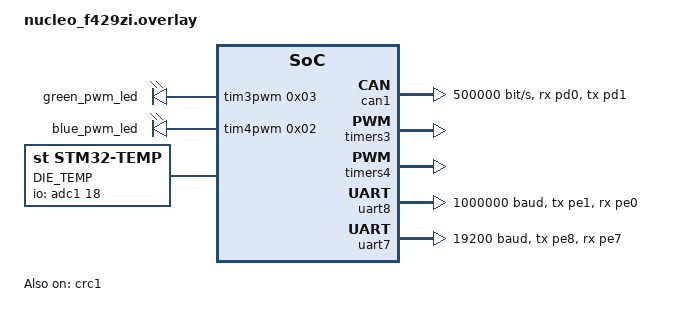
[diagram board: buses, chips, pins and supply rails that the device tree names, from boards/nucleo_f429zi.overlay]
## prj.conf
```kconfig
# https://docs.zephyrproject.org/latest/reference/kconfig/index-all.html

# -----------------------------------------------------------------------------

# GENERAL

# fs function needs a lot of stack/ram in general
CONFIG_MAIN_STACK_SIZE=2048

# https://docs.zephyrproject.org/latest/reference/kernel/threads/workqueue.html#configuration-options
CONFIG_SYSTEM_WORKQUEUE_STACK_SIZE=2024
CONFIG_SYSTEM_WORKQUEUE_PRIORITY=-1
CONFIG_SYSTEM_WORKQUEUE_NO_YIELD=n

CONFIG_INIT_STACKS=y

CONFIG_TIMEOUT_64BIT=y

CONFIG_POSIX_API=y
# CONFIG_MINIMAL_LIBC=y
# CONFIG_MINIMAL_LIBC_MALLOC=y
# CONFIG_MINIMAL_LIBC_MALLOC_ARENA_SIZE=1024
CONFIG_NEWLIB_LIBC=y
CONFIG_HEAP_MEM_POOL_SIZE=0

CONFIG_POLL=y

# -----------------------------------------------------------------------------

# LOGGING
# https://docs.zephyrproject.org/latest/reference/logging/index.html
CONFIG_LOG=y
CONFIG_PRINTK=y

# CONFIG_CONSOLE=y
# CONFIG_UART_CONSOLE=y
# CONFIG_STDOUT_CONSOLE=y

CONFIG_CBPRINTF_FP_SUPPORT=y

# -----------------------------------------------------------------------------

CONFIG_THREAD_MONITOR=n

# https://docs.zephyrproject.org/latest/guides/flash_debug/thread-analyzer.html
# -> disable CONFIG_LOG_MODE_IMMEDIATE when using THREAD analyser
CONFIG_THREAD_NAME=y
CONFIG_THREAD_ANALYZER=n            
# CONFIG_THREAD_ANALYZER_USE_PRINTK=n
# CONFIG_THREAD_ANALYZER_USE_LOG=y
# CONFIG_THREAD_ANALYZER_AUTO=y
# CONFIG_THREAD_ANALYZER_AUTO_INTERVAL=10
# THREAD_ANALYZER_AUTO_STACK_SIZE
CONFIG_THREAD_RUNTIME_STATS=y

# -----------------------------------------------------------------------------

CONFIG_NETWORKING=y
CONFIG_NET_UDP=y
CONFIG_NET_TCP=y

CONFIG_NET_IPV4=y
CONFIG_NET_IPV6=n
CONFIG_NET_TCP=y
CONFIG_NET_ARP=y
CONFIG_NET_UDP=y

CONFIG_NET_STATISTICS=y
CONFIG_NET_STATISTICS_USER_API=y
CONFIG_NET_STATISTICS_IPV4=y
CONFIG_NET_STATISTICS_ICMP=y
CONFIG_NET_STATISTICS_TCP=y
CONFIG_NET_STATISTICS_UDP=y

CONFIG_NET_CONNECTION_MANAGER=n

# TO DEBUG
# CONFIG_NET_DRIVERS=y
# CONFIG_NET_LOOPBACK=y
# CONFIG_NET_LOOPBACK_LOG_LEVEL_DBG=y
# CONFIG_NET_IF_MAX_IPV4_COUNT=2

CONFIG_NET_MGMT=y
CONFIG_NET_MGMT_EVENT=y

CONFIG_NET_SOCKETS=y

CONFIG_NET_SOCKETS_SOCKOPT_TLS=y
CONFIG_NET_SOCKETS_TLS_MAX_CONTEXTS=4

# https://github.com/zephyrproject-rtos/zephyr/issues/39705
# incompatible with CONFIG_POSIX_API option
# CONFIG_NET_SOCKETS_POSIX_NAMES=y

CONFIG_NET_BUF_DATA_SIZE=128
# default 36
CONFIG_NET_PKT_RX_COUNT=64
CONFIG_NET_PKT_TX_COUNT=64
CONFIG_NET_BUF_RX_COUNT=64
CONFIG_NET_BUF_TX_COUNT=64

CONFIG_DNS_RESOLVER=y
CONFIG_DNS_RESOLVER_ADDITIONAL_BUF_CTR=5
CONFIG_DNS_RESOLVER_ADDITIONAL_QUERIES=2
CONFIG_DNS_RESOLVER_AI_MAX_ENTRIES=4

CONFIG_DNS_RESOLVER_MAX_SERVERS=1
# https://docs.zephyrproject.org/latest/reference/kconfig/CONFIG_DNS_SERVER1.html#std-kconfig-CONFIG_DNS_SERVER1
# SET CONFIG_DNS_RESOLVER_MAX_SERVERS to 2 if enabling next configuration option
# CONFIG_DNS_SERVER2="192.168.10.6"

CONFIG_DNS_RESOLVER_LOG_LEVEL_DBG=y

# CONFIG_MDNS_RESOLVER=y
# CONFIG_LLMNR_RESOLVER=n
# CONFIG_DNS_RESOLVER_MAX_SERVERS=2
# CONFIG_DNS_SERVER_IP_ADDRESSES=y
# CONFIG_DNS_NUM_CONCUR_QUERIES=5

# Config SNTP
CONFIG_SNTP=y
CONFIG_SNTP_LOG_LEVEL_DBG=n

CONFIG_NET_LOG=y
# IMPORTANT - CONFIG_NET_SOCKETS_LOG_LEVEL_DBG should also be enabled when debugging MBEDTLS stack
CONFIG_NET_SOCKETS_LOG_LEVEL_DBG=n
CONFIG_NET_IF_LOG_LEVEL_INF=y
CONFIG_NET_TCP_LOG_LEVEL_DBG=n
CONFIG_NET_CONFIG_LOG_LEVEL_DBG=n
CONFIG_NET_L2_ETHERNET_LOG_LEVEL_INF=n
CONFIG_NET_CORE_LOG_LEVEL_DBG=n
CONFIG_NET_CONN_LOG_LEVEL_DBG=n

CONFIG_NET_CONFIG_SETTINGS=n
CONFIG_NET_CONFIG_AUTO_INIT=n
CONFIG_NET_CONFIG_CLOCK_SNTP_INIT=n
CONFIG_NET_CONFIG_NEED_IPV6=n
CONFIG_NET_CONFIG_NEED_IPV4=n

CONFIG_NET_MAX_CONN=12
CONFIG_NET_MAX_CONTEXTS=12
CONFIG_POSIX_MAX_FDS=16
CONFIG_NET_SOCKETS_POLL_MAX=7

# https://docs.zephyrproject.org/latest/reference/kconfig/CONFIG_NET_TCP_TIME_WAIT_DELAY.html#std-kconfig-CONFIG_NET_TCP_TIME_WAIT_DELAY
# free TCP context immediately when closed
CONFIG_NET_TCP_TIME_WAIT_DELAY=0

# https://docs.zephyrproject.org/latest/reference/kconfig/CONFIG_NET_TCP_BACKLOG_SIZE.html#std-kconfig-CONFIG_NET_TCP_BACKLOG_SIZE
# CONFIG_NET_TCP_BACKLOG_SIZE=5

# -----------------------------------------------------------------------------

CONFIG_MBEDTLS_BUILTIN=y

# we disable heap as we will allocate it manually in CCM Pusing mbedtls_memory_buffer_alloc_init
CONFIG_MBEDTLS_ENABLE_HEAP=n
# CONFIG_MBEDTLS_HEAP_SIZE=65536

CONFIG_MBEDTLS_SSL_MAX_CONTENT_LEN=4096
CONFIG_NET_SOCKETS_TLS_SET_MAX_FRAGMENT_LENGTH=y

CONFIG_MBEDTLS_CFG_FILE="config-tls-generic.h"
CONFIG_MBEDTLS_USER_CONFIG_ENABLE=y
CONFIG_MBEDTLS_USER_CONFIG_FILE="caniot-cfg.h"

CONFIG_MBEDTLS_CIPHER=y

# CONFIG_MBEDTLS_MAC_ALL_ENABLED=y
CONFIG_MBEDTLS_MAC_MD5_ENABLED=y
CONFIG_MBEDTLS_MAC_SHA1_ENABLED=y
CONFIG_MBEDTLS_MAC_SHA256_ENABLED=y
CONFIG_MBEDTLS_MAC_SHA512_ENABLED=y

# CONFIG_MBEDTLS_CIPHER_ALL_ENABLED=y
# CONFIG_MBEDTLS_CIPHER_AES_ENABLED=y
CONFIG_MBEDTLS_CIPHER_MODE_CBC_ENABLED=y

# CONFIG_MBEDTLS_KEY_EXCHANGE_ALL_ENABLED=y
# CONFIG_MBEDTLS_KEY_EXCHANGE_ECDHE_RSA_ENABLED=y
# CONFIG_MBEDTLS_KEY_EXCHANGE_ECDH_RSA_ENABLED=y
CONFIG_MBEDTLS_KEY_EXCHANGE_RSA_ENABLED=y

# CONFIG_MBEDTLS_ECP_ALL_ENABLED=y

# TODO set to off later
CONFIG_MBEDTLS_PEM_CERTIFICATE_FORMAT=y

### ???
# CONFIG_CRYPTO=y

### ???
CONFIG_ENTROPY_GENERATOR=y
CONFIG_TEST_RANDOM_GENERATOR=n
# don't use test random generator in production

# CONFIG_MBEDTLS_ENTROPY_ENABLED=y

CONFIG_MBEDTLS_TLS_VERSION_1_2=y
CONFIG_MBEDTLS_TLS_VERSION_1_1=n
CONFIG_MBEDTLS_TLS_VERSION_1_0=n

# Debug
CONFIG_MBEDTLS_DEBUG=y
CONFIG_MBEDTLS_DEBUG_LEVEL=1
CONFIG_MBEDTLS_MEMORY_DEBUG=y

# -----------------------------------------------------------------------------

CONFIG_BOOTLOADER_MCUBOOT=n

# use code partition defined in the .overlay files
CONFIG_USE_DT_CODE_PARTITION=y

# -----------------------------------------------------------------------------

CONFIG_MPU_ALLOW_FLASH_WRITE=y

CONFIG_FLASH=y
CONFIG_FLASH_MAP=y
CONFIG_FLASH_PAGE_LAYOUT=y

CONFIG_NVS=y
CONFIG_NVS_LOG_LEVEL_DBG=y

# -----------------------------------------------------------------------------

CONFIG_EVENTFD=y
CONFIG_EVENTFD_MAX=1

# -----------------------------------------------------------------------------

CONFIG_HTTP_CLIENT=y
CONFIG_HTTP_PARSER=y
CONFIG_JSON_LIBRARY=y
```

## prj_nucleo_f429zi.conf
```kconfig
# -----------------------------------------------------------------------------

# Application specific

CONFIG_DISCOVERY_SERVER=y
# CONFIG_DISCOVERY_SERVER_LOG_LEVEL=4

CONFIG_MAX_HTTP_CONNECTIONS=3

CONFIG_SYSTEM_MONITORING=y

CONFIG_CANTCP_SERVER=n

CONFIG_CANIOT_CONTROLLER=y

CONFIG_BLE_CONTROLLER=y

CONFIG_HTTP_TEST_SERVER=y

# -----------------------------------------------------------------------------

# DEBUG
CONFIG_ASSERT=n

# -----------------------------------------------------------------------------

CONFIG_LOG=y
CONFIG_LOG_MODE_DEFERRED=y
CONFIG_LOG_BUFFER_SIZE=2048

# enable to immediate while debugging or when having immediate response is needed
# disable to log time sensitive functions (need a bit more RAM for a thread and pools)
CONFIG_LOG_MODE_IMMEDIATE=n

# -----------------------------------------------------------------------------

CONFIG_ENTROPY_DEVICE_RANDOM_GENERATOR=y

CONFIG_ETH_STM32_HAL_RANDOM_MAC=n
CONFIG_ETH_STM32_HAL_MAC3=0x77
CONFIG_ETH_STM32_HAL_MAC4=0x77
CONFIG_ETH_STM32_HAL_MAC5=0x77

# not entropy in delay
CONFIG_NET_DHCPV4=y
CONFIG_NET_DHCPV4_INITIAL_DELAY_MAX=2
CONFIG_NET_DHCPV4_LOG_LEVEL_DBG=n

# -----------------------------------------------------------------------------

CONFIG_SHELL=n
CONFIG_NET_SHELL=n
CONFIG_FLASH_SHELL=n

# -----------------------------------------------------------------------------

CONFIG_CAN=y
CONFIG_CAN_INIT_PRIORITY=80
CONFIG_CAN_MAX_FILTER=5
# this is default
# CONFIG_CAN_LOOPBACK_TX_MSGQ_SIZE=16
# CONFIG_CAN_LOOPBACK_TX_THREAD_PRIORITY=2
# CONFIG_CAN_LOOPBACK_TX_THREAD_STACK_SIZE=256
CONFIG_CAN_LOG_LEVEL_DBG=n
CONFIG_CAN_LOOPBACK=n

# -----------------------------------------------------------------------------

CONFIG_GPIO=y
CONFIG_PWM=y
CONFIG_PWM_LOG_LEVEL_DBG=y

# -----------------------------------------------------------------------------

CONFIG_SERIAL=y
CONFIG_UART_ASYNC_API=y
CONFIG_DMA_LOG_LEVEL_DBG=y
# CONFIG_UART_STM32=y (autoselected)

# -----------------------------------------------------------------------------

CONFIG_ADC=y
CONFIG_ADC_LOG_LEVEL_DBG=n

# -----------------------------------------------------------------------------

CONFIG_SENSOR=y
CONFIG_STM32_TEMP=y

# -----------------------------------------------------------------------------

CONFIG_UART_IPC=y
CONFIG_UART_IPC_FULL=y
CONFIG_UART_IPC_DEBUG_GPIO_STM32=y
CONFIG_UART_IPC_PING=y
CONFIG_UART_IPC_PING_PERIOD=1000
CONFIG_UART_IPC_STATS=y
CONFIG_UART_IPC_EVENT_API=y

# -----------------------------------------------------------------------------

CONFIG_CANIOT_LIB=y
CONFIG_CANIOT_LOG_LEVEL=2
CONFIG_CANIOT_ASSERT=n
CONFIG_CANIOT_MAX_PENDING_QUERIES=6
CONFIG_CANIOT_DRIVERS_API=n
CONFIG_CANIOT_CTRL_DRIVERS_API=y

# -----------------------------------------------------------------------------

CONFIG_MY_STM32_HAL=y

# -----------------------------------------------------------------------------
```

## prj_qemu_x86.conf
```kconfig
# -----------------------------------------------------------------------------

# Application specific

CONFIG_DISCOVERY_SERVER=y
# CONFIG_DISCOVERY_SERVER_LOG_LEVEL=4

CONFIG_MAX_HTTP_CONNECTIONS=3

CONFIG_SYSTEM_MONITORING=y

CONFIG_CANTCP_SERVER=n

CONFIG_CANIOT_CONTROLLER=n

CONFIG_BLE_CONTROLLER=n

CONFIG_HTTP_TEST_SERVER=y

# -----------------------------------------------------------------------------

CONFIG_ENTROPY_DEVICE_RANDOM_GENERATOR=n
CONFIG_TEST_RANDOM_GENERATOR=y

# -----------------------------------------------------------------------------

CONFIG_USE_DT_CODE_PARTITION=n

# -----------------------------------------------------------------------------

CONFIG_QEMU_ICOUNT=n

# -----------------------------------------------------------------------------

CONFIG_NET_LOG=y
CONFIG_NET_SOCKETS_LOG_LEVEL_DBG=n

# Network application options and configuration for QEMU
CONFIG_NET_CONFIG_SETTINGS=y
CONFIG_NET_CONFIG_NEED_IPV6=y
CONFIG_NET_CONFIG_MY_IPV6_ADDR="2001:db8::1"
CONFIG_NET_CONFIG_PEER_IPV6_ADDR="2001:db8::2"
CONFIG_NET_CONFIG_NEED_IPV4=y
CONFIG_NET_CONFIG_MY_IPV4_ADDR="192.0.2.1"
CONFIG_NET_CONFIG_PEER_IPV4_ADDR="192.0.2.2"

CONFIG_NET_CONFIG_MY_IPV4_GW="192.0.2.2"

CONFIG_NET_CONFIG_AUTO_INIT=y
CONFIG_NET_CONFIG_CLOCK_SNTP_INIT=n

CONFIG_NET_DHCPV4=n

CONFIG_DNS_RESOLVER_MAX_SERVERS=1
CONFIG_DNS_SERVER_IP_ADDRESSES=y
CONFIG_DNS_SERVER1="192.168.10.6"
CONFIG_DNS_RESOLVER_LOG_LEVEL_DBG=n

CONFIG_NET_SOCKETS_DNS_TIMEOUT=5000

CONFIG_NET_STATISTICS=y
CONFIG_NET_STATISTICS_USER_API=y
CONFIG_NET_STATISTICS_IPV4=y
CONFIG_NET_STATISTICS_ICMP=y
CONFIG_NET_STATISTICS_TCP=y
CONFIG_NET_STATISTICS_UDP=y

CONFIG_NET_BUF_DATA_SIZE=512
# default 36
CONFIG_NET_PKT_RX_COUNT=256
CONFIG_NET_PKT_TX_COUNT=256
CONFIG_NET_BUF_RX_COUNT=256
CONFIG_NET_BUF_TX_COUNT=256

# -----------------------------------------------------------------------------

CONFIG_CANIOT_LIB=y
CONFIG_CANIOT_LOG_LEVEL=2
CONFIG_CANIOT_ASSERT=n
CONFIG_CANIOT_MAX_PENDING_QUERIES=6
CONFIG_CANIOT_DRIVERS_API=n
CONFIG_CANIOT_CTRL_DRIVERS_API=y

# -----------------------------------------------------------------------------

CONFIG_SHELL=n

# Net shell(s)
# https://docs.zephyrproject.org/latest/services/shell/index.html#shell-api
# https://docs.zephyrproject.org/latest/connectivity/networking/api/net_shell.html

CONFIG_NET_SHELL=n
# CONFIG_NET_ROUTE=y

# -----------------------------------------------------------------------------

# enable to immediate while debugging or when having immediate response is needed
# disable to log time sensitive functions (need a bit more RAM for a thread and pools)
CONFIG_LOG_MODE_IMMEDIATE=y

# -----------------------------------------------------------------------------

CONFIG_ASSERT=y
```

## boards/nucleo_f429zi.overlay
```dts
#include "dt-bindings/pinctrl/stm32-pinctrl-common.h"

&can1 {
        status = "okay";
        pinctrl-names  = "default";
        pinctrl-0 = <&can1_rx_pd0 &can1_tx_pd1>;
        bus-speed = <500000>;

        sample-point = <875>; /* recommended value */
        sjw = <0x1>;
};

/ {
        aliases {
                led-net = &green_led_1;
                led-thread = &red_led_1;
                led-can = &blue_led_1;
                sw0 = &user_button;

		ipc-uart = &uart7;
		ipc-uart-7 = &uart7;
		ipc-uart-8 = &uart8;
        };

        soc {
		// ahb1
		crc1: crc@40023000 {
			compatible = "st,stm32-crc";
			reg = <0x40023000 0x400>;
			label = "STM32_CRC";
			status = "okay"; // okay
		};
	};
};

/* order matters */
/delete-node/ &boot_partition;
/delete-node/ &storage_partition;
/delete-node/ &slot0_partition;
/delete-node/ &slot1_partition;
/delete-node/ &scratch_partition;

&flash0 {
        // flash size is 0x200000
        partitions {
                compatible = "fixed-partitions";
                #address-cells = <0x1>;
                #size-cells = <0x1>;
                application_partition: partition@0 {
                        label = "application";
                        reg = <0x0 DT_SIZE_K(1024)>;
                };
                storage_partition: partition@100000 {
			label = "storage";
			reg = <0x100000 DT_SIZE_K(64)>;
		};
                certificates_partition: partition@1e0000 {
                        label = "certificates";
                        reg = <0x1e0000 DT_SIZE_K(128)>;
                };
        };
};

/**
 * https: //docs.zephyrproject.org/2.7.0/reference/devicetree/bindings/pwm/st,stm32-pwm.html
 *
 * According to UM1974 (page 24) and "STM32F427xx STM32F429xx product datasheet" page 76
 * 
 * - LD1 (green user led) is connected to PB0
 * 	- AF1 (alternate function 1) : TIM1_CH2N
 * 	- AF2 : TIM3_CH3 (choosen)
 * 	- AF3 : TIM8_CH2N
 * - LD2 (blue user led) is connected to PB7
 * 	- AF2 : TIM4_CH2 (choosen)
 * - LD3 (red user led) is connected to PB14
 * 	- AF1: TIM1_CH2N
 * 	- AF3 : TIM8_CH2N (choosen)
 * 
 * - "These user LEDs are on when the I/O is HIGH value, and are off when the I/O is LOW."
 * 
 * - https://docs.zephyrproject.org/2.7.0/reference/devicetree/bindings/pwm/st,stm32-pwm.html
 */
&timers3 {
        status = "okay";
        st,prescaler = <8399>; /* depreciated, should be moved 1 layer above (i.e. to timers3) */
        tim3pwm: pwm {
                pinctrl-names  = "default";
                status = "okay";
                pinctrl-0 = <&tim3_ch3_pb0>;
        };
};

&timers4 {
        status = "okay";
        st,prescaler = <8399>; /* depreciated */
        tim4pwm: pwm {
                pinctrl-names  = "default";
                status = "okay";
                pinctrl-0 = <&tim4_ch2_pb7>;
        };
};

/* complementary pwm channels not supported by st,stm32-pwm for now 
 * Read : https://github.com/zephyrproject-rtos/zephyr/issues/38629
 */

/*
&timers8 {
        status = "okay";
        st,prescaler = <8399>;  // depreciated
        tim8pwm: pwm {
                status = "okay";
                pinctrl-0 = < &tim8_ch2n_pb14 >; // <&tim8_ch2n_pb14 &tim8_ch2_pc7>; STM32_PINMUX('B', 14, AF3)
        };
};
*/

/ {
        pwmleds {
                compatible = "pwm-leds";
                green_pwm_led: led_pwm_0 {
                        status = "okay";
                        pwms = <&tim3pwm 0x03 1000000000 PWM_POLARITY_NORMAL>;
                };
                blue_pwm_led: led_pwm_1 {
                        status = "okay";
                        pwms = <&tim4pwm 0x02 1000000000 PWM_POLARITY_NORMAL>;
                };
                /*
                red_pwm_led: led_pwm_2 {
                        status = "okay";
                        pwms = <&tim8pwm 0x02 1000000000 PWM_POLARITY_NORMAL>;
                };
                */
        };
};

&dma1 {
	status = "okay";
};

// https://docs.zephyrproject.org/latest/reference/devicetree/bindings/serial/st,stm32-uart.html?highlight=stm32%20uart
&uart8 {
	status = "okay";
	current-speed = <1000000>; // 1000000
	// hw-flow-control;
        pinctrl-names  = "default";
	pinctrl-0 = <&uart8_tx_pe1 &uart8_rx_pe0>;

	// https://docs.zephyrproject.org/latest/reference/devicetree/bindings/dma/st%2Cstm32-dma-v1.html

	// RM0090 rev 19 page 307/1751 : DMA1
	// UART8_TX chan 5 stream 0
	// UART8_RX chan 5 stream 6

	// see :
	// - tests/drivers/uart/uart_async_api/boards/nucleo_f429zi.overlay
	// or ...
	// - tests/drivers/uart/uart_async_api/boards/disco_l475_iot1.overlay
	// - tests/drivers/uart/uart_async_api/boards/nucleo_f103rb.overlay
	// - tests/drivers/uart/uart_async_api/boards/nucleo_f207zg.overlay


	dmas =  < &dma1 0 5 0x440 0x3>, /* dma channel stream-slot channel-config features */
		< &dma1 6 5 0x480 0x3 >; 
	dma-names = "tx", "rx";
};

/* Read https://github.com/zephyrproject-rtos/zephyr/issues/34763 */

// https://docs.zephyrproject.org/latest/build/dts/api/bindings/serial/st,stm32-uart.html
&uart7 {
	status = "okay";

        // Note: Clean and rebuild when changing this value !
	current-speed = < 19200 >; // 1200, 115200, 1000000 
	// hw-flow-control;
        pinctrl-names  = "default";
	pinctrl-0 = <&uart7_tx_pe8 &uart7_rx_pe7>;

	// https://docs.zephyrproject.org/latest/build/dts/api/bindings/dma/st,stm32-dma.html

	// RM0090 rev 19 page 307/1751 : DMA1
	// UART7_TX chan 5 stream 1
	// UART7_RX chan 5 stream 3

	// see :
	// - tests/drivers/uart/uart_async_api/boards/nucleo_f429zi.overlay
	// or ...
	// - tests/drivers/uart/uart_async_api/boards/disco_l475_iot1.overlay
	// - tests/drivers/uart/uart_async_api/boards/nucleo_f103rb.overlay
	// - tests/drivers/uart/uart_async_api/boards/nucleo_f207zg.overlay


        // dma channel stream-slot channel-config features
	dmas =  < &dma1 1 5 0x440 0x3>, 
		< &dma1 3 5 0x480 0x3>; 
	dma-names = "tx", "rx";
};

/*
Sample application : https://github.com/zephyrproject-rtos/zephyr/tree/main/samples/sensor/stm32_temp_sensor/boards
 */
/ {
        stm-temp {
                label = "DIE_TEMP";
                compatible = "st,stm32-temp";
                io-channels = < &adc1 18 >;
                // ts-voltage-mv = < 3300 >;
                avgslope = < 25 >;
                v25 = < 760 >;
                status = "okay";
        };
};

/* platformio doesn't show the correct FLASH usage 
 * when using overlay with custom partitions
 * 
 * Morever pio doesn't show CCM usage;
 */
/ {
        chosen {
                zephyr,code-partition = &application_partition;
        };
};

/ {
        chosen {
                zephyr,console = &usart3;
                zephyr,shell-uart = &usart3;
        };
};

// &usart2 {
// 	status = "okay";
//         current-speed = < 115200 >;
// };


/* Second can bus isn't supported yet */
// &can2 {
//         status = "okay";
//         bus-speed = < 500000 >;
// };
```

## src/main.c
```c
#include <zephyr.h>

#include <device.h>
#include <drivers/sensor.h>

#include "net_interface.h"
#include "net_time.h"
#include "crypto.h"

#include "userio/leds.h"
#include "userio/button.h"

#ifndef CONFIG_BOARD_QEMU_X86
#include "ha/devices.h"
#include "ha/ble_controller.h"
#endif /* CONFIG_BOARD_QEMU_X86 */

#include <mbedtls/memory_buffer_alloc.h>

#include <stdio.h>

#include <logging/log.h>
LOG_MODULE_REGISTER(main, LOG_LEVEL_NONE);

#if DT_HAS_COMPAT_STATUS_OKAY(st_stm32_temp)
#define TEMP_NODE DT_INST(0, st_stm32_temp)
#else
// #error "Could not find a compatible temperature sensor"
#endif

#ifdef TEMP_NODE
static const struct device *die_temp_dev = DEVICE_DT_GET(TEMP_NODE);

static int die_temp_dev_init(void)
{
	if (!device_is_ready(die_temp_dev)) {
		LOG_ERR("(%p) Temperature sensor is not ready", die_temp_dev);
		return -EIO;
	}

	return 0U;
}

static int die_temp_fetch(void)
{
	int rc;
	struct sensor_value val;

	rc = sensor_sample_fetch(die_temp_dev);
	if (rc) {
		LOG_ERR("Failed to fetch sample (%d)", rc);
		goto exit;
	}

	rc = sensor_channel_get(die_temp_dev, SENSOR_CHAN_DIE_TEMP, &val);
	if (rc) {
		LOG_ERR("Failed to get data (%d)", rc);
		goto exit;
	}

	const float temperature = (float)sensor_value_to_double(&val);
	if (temperature > -276.0) {
		ha_dev_register_die_temperature(net_time_get(), temperature);

		LOG_DBG("Current DIE temperature: %.1f °C ", temperature);
	} else {
		LOG_WRN("Invalid DIE temperature: %.1f °C", temperature);
	}

exit:
	return rc;
}

#endif /* TEMP_NODE */

static void debug_mbedtls_memory(void)
{
        size_t cur_used, cur_blocks, max_used, max_blocks;
        mbedtls_memory_buffer_alloc_cur_get(&cur_used, &cur_blocks);
        mbedtls_memory_buffer_alloc_max_get(&max_used, &max_blocks);

        LOG_DBG("MAX %u (%u) CUR %u (%u)", max_used,
                max_blocks, cur_used, cur_blocks);
}

void main(void)
{
#ifndef CONFIG_BOARD_QEMU_X86
	leds_init();
	button_init();
#endif
	crypto_mbedtls_heap_init();
	net_interface_init();

#ifndef CONFIG_BOARD_QEMU_X86
	ha_ble_controller_init();
#endif /* CONFIG_BOARD_QEMU_X86 */

#ifdef TEMP_NODE
	die_temp_dev_init();
#endif /* TEMP_NODE */

	printk("Starting...\n");

	uint32_t counter = 0;

	for (;;) {

		/* 1 second tasks */

		/* 10 second tasks */
		if (counter % 10 == 0) {
#ifdef TEMP_NODE
			die_temp_fetch();
#endif /* TEMP_NODE */
		}

		/* 1min tasks */
		if (counter % 60 == 0) {

		}

		/* 10min tasks but 5 seconds after startup*/
		if (counter % 600 == 5) {
			net_time_show();
			debug_mbedtls_memory();
		}

		counter++;
		k_msleep(1000);
	}
}
```
